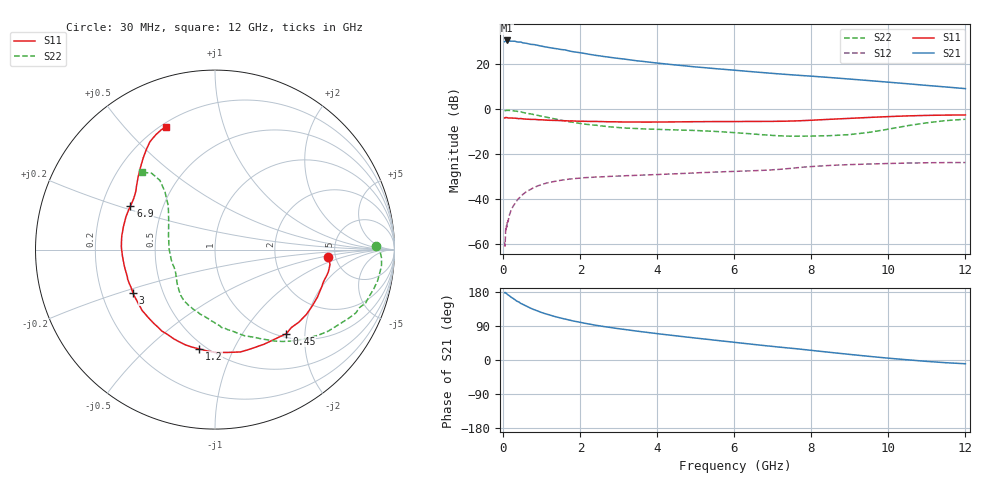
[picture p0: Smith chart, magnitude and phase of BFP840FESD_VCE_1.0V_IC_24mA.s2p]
! Infineon Technologies  Discrete & RF Semiconductors
! BFP840FESD
! VCE =  1.0 V,  IC =  24 mA
! Common Emitter S-Parameters:  May 2012
# GHz  S  MA  R  50
!  f  S11  S21  S12  S22
! GHz  MAG  ANG  MAG  ANG  MAG  ANG  MAG  ANG
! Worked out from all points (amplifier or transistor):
!   103 points, 30 MHz to 12 GHz, reference 50 ohm
!   highest |S21| = 30.4 dB at 80 MHz (marker M1)
!   |S21| within 3 dB of that: start of sweep to 1.137 GHz
!   unconditionally stable (mu >= 1): start of sweep to 50.49 MHz; 4.877 GHz to end of sweep
!   at 400 MHz: K = 0.21, MSG = 34.7 dB, |S12| = -39.7 dB
!   at 3.7 GHz: K = 0.86, MSG = 25.1 dB, |S12| = -29.3 dB
!   at 12 GHz: K = 1.18, MAG = 13.9 dB, |S12| = -23.8 dB
!   S11 on the Smith chart (normalised r, x): 30 MHz: 4.32, -0.61; 450 MHz: 1.07, -1.61; 1.2 GHz: 0.46, -0.74; 3 GHz: 0.34, -0.22; 6.9 GHz: 0.32, +0.22; 12 GHz: 0.22, +0.66
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0.03  0.6304 -3.9  31.11 177.6  0.0011 88.0  0.8987 1.4
0.05  0.642 -6.1  32.28 178.1  0.0014 88.2  0.9162 -0.3
0.08  0.6443 -10.0  33.16 175.1  0.0027 80.9  0.9279 -2.6
0.13  0.6308 -16.4  31.95 171.1  0.0035 76.4  0.9305 -6.4
0.3  0.6244 -35.3  31.82 158.9  0.008 73.9  0.899 -16.6
0.35  0.6176 -40.9  30.89 155.2  0.0093 73.3  0.8903 -19.5
0.4  0.6079 -45.7  30.43 153.1  0.0104 71.8  0.8654 -22.1
0.45  0.6143 -49.6  30.64 149.3  0.0112 69.8  0.8612 -24.1
0.7  0.5878 -70.6  27.25 136.9  0.0163 62.5  0.778 -35.7
0.8  0.5877 -76.0  26.82 132.7  0.0182 59.8  0.7485 -39.5
1  0.5736 -88.9  24.71 125.0  0.0211 54.8  0.6891 -46.9
1.2  0.5604 -99.1  22.98 118.9  0.0235 50.8  0.635 -53.7
1.6  0.5477 -114.7  20.48 108.1  0.0269 43.9  0.5398 -65.2
1.8  0.542 -123.2  18.7 103.2  0.0282 41.7  0.5072 -71.1
2.1  0.5321 -132.0  17.12 97.2  0.0298 38.7  0.4611 -78.5
3  0.5162 -152.4  13.21 82.6  0.0324 34.3  0.3859 -95.7
4.1  0.5139 -170.6  10.22 68.3  0.0354 33.5  0.3508 -111.3
6.1  0.526 164.0  7.131 45.5  0.0414 33.8  0.2939 -134.4
6.9  0.5301 152.8  6.249 36.8  0.0441 35.7  0.262 -145.9
8.5  0.5908 136.4  4.971 20.0  0.0559 33.0  0.2556 179.4
10.5  0.7018 121.1  3.624 0.5  0.0629 25.3  0.4255 130.9
12  0.736 111.6  2.825 -9.9  0.0646 22.5  0.5913 133.1
